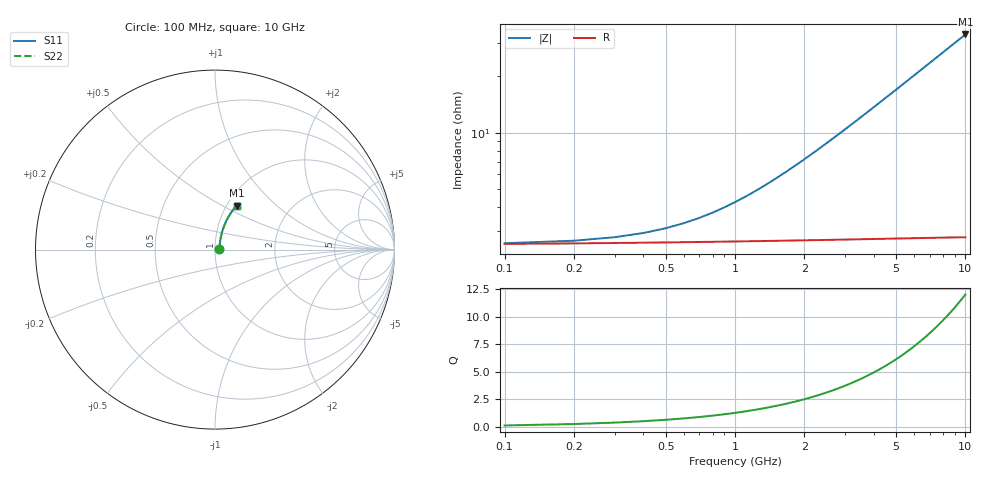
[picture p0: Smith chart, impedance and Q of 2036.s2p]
# Hz S RI R 50.00
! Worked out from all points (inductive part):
!   100 points, 100 MHz to 10 GHz, reference 50 ohm
!   read as one part in series: L = 533 pH near 2.4 GHz
!   highest Q = 12 at 10 GHz (marker M1), where L = 530 pH
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1e8  0.0249 0.00276  0.9751 -0.00362  0.9751 -0.00362  0.0249 0.00276
2e8  0.0251 0.00552  0.9749 -0.00723  0.9749 -0.00723  0.0251 0.00552
3e8  0.0252 0.00828  0.9747 -0.0108  0.9747 -0.0108  0.0252 0.00828
4e8  0.0254 0.011  0.9746 -0.0145  0.9746 -0.0145  0.0254 0.011
5e8  0.0256 0.0138  0.9744 -0.0181  0.9744 -0.0181  0.0256 0.0138
1.3e9  0.0275 0.0358  0.9724 -0.0469  0.9724 -0.0469  0.0275 0.0358
1.5e9  0.0281 0.0412  0.9718 -0.0541  0.9718 -0.0541  0.0281 0.0412
1.8e9  0.0292 0.0494  0.9706 -0.0648  0.9706 -0.0648  0.0292 0.0494
2.1e9  0.0305 0.0575  0.9693 -0.0755  0.9693 -0.0755  0.0305 0.0575
2.5e9  0.0325 0.0683  0.9673 -0.0898  0.9673 -0.0898  0.0325 0.0683
2.9e9  0.0348 0.079  0.9649 -0.1039  0.9649 -0.1039  0.0348 0.079
3.4e9  0.038 0.0923  0.9615 -0.1215  0.9615 -0.1215  0.038 0.0923
3.8e9  0.041 0.1028  0.9585 -0.1354  0.9585 -0.1354  0.041 0.1028
4.2e9  0.0442 0.1132  0.9551 -0.1492  0.9551 -0.1492  0.0442 0.1132
4.6e9  0.0478 0.1235  0.9514 -0.1629  0.9514 -0.1629  0.0478 0.1235
5.1e9  0.0526 0.1361  0.9464 -0.1798  0.9464 -0.1798  0.0526 0.1361
5.9e9  0.0612 0.1558  0.9375 -0.2065  0.9375 -0.2065  0.0612 0.1558
6.7e9  0.0709 0.1749  0.9274 -0.2324  0.9274 -0.2324  0.0709 0.1749
7.5e9  0.0815 0.1932  0.9163 -0.2577  0.9163 -0.2577  0.0815 0.1932
8.4e9  0.0946 0.2129  0.9027 -0.2851  0.9027 -0.2851  0.0946 0.2129
9.2e9  0.1072 0.2295  0.8896 -0.3087  0.8896 -0.3087  0.1072 0.2295
1e10  0.1205 0.2452  0.8757 -0.3313  0.8757 -0.3313  0.1205 0.2452
